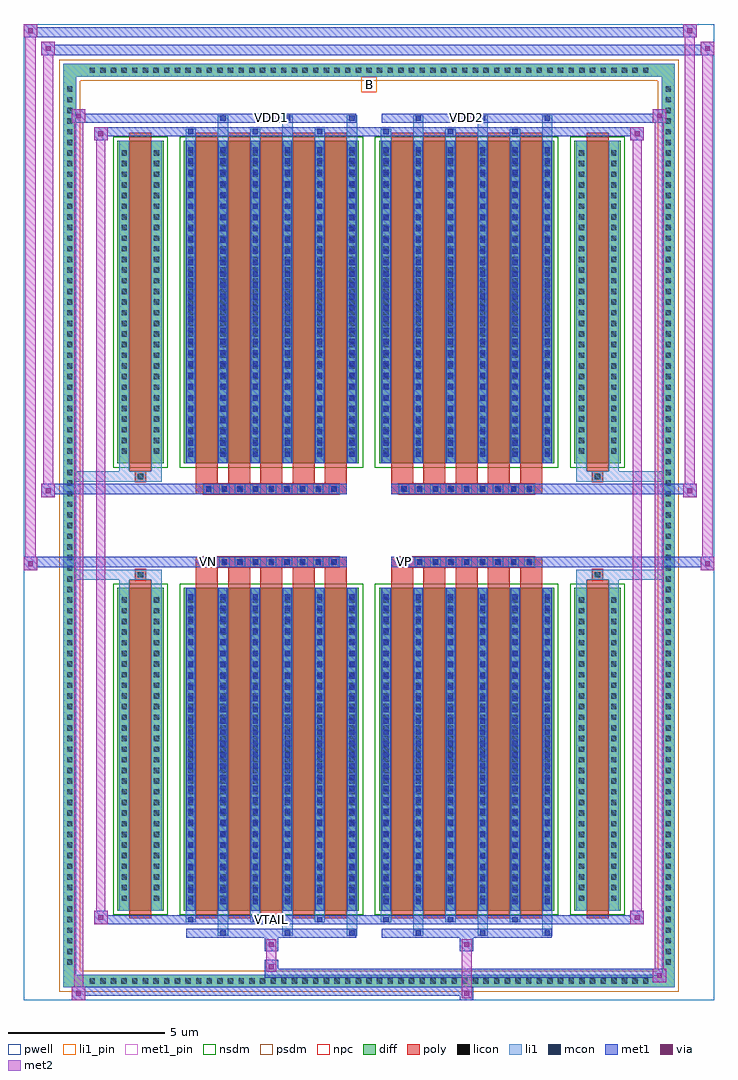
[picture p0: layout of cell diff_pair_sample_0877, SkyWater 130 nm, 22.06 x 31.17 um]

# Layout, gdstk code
import gdstk
lib = gdstk.Library(unit=1e-6, precision=5e-09)
def R(c, l, rs):  # rectangles x0, y0, x1, y1
    for r in rs: c.add(gdstk.rectangle(r[:2], r[2:], *l))
def A(c, l, x, y, w, h, nx, ny, dx, dy):  # array of equal rectangles
    R(c, l, [(x+i*dx, y+j*dy, x+i*dx+w, y+j*dy+h) for i in range(nx) for j in range(ny)])
def P(c, l, *ps):  # polygons
    for p in ps: c.add(gdstk.Polygon(p, *l))
pwell = (64, 44)
diff = (65, 20)
poly = (66, 20)
licon = (66, 44)
li1_pin = (67, 16)
li1 = (67, 20)
mcon = (67, 44)
met1_pin = (68, 16)
met1 = (68, 20)
via = (68, 44)
met2 = (69, 20)
nsdm = (93, 44)
psdm = (94, 20)
npc = (95, 20)

diff_pair_sample_0877 = lib.new_cell('diff_pair_sample_0877')
R(diff_pair_sample_0877, pwell, [(-11.03,-15.15,11.03,16.02), (-8.35,-13.34,-0.01,-0.8), (0.01,-13.34,8.35,-0.8), (-8.35,0.8,-0.01,13.34), (0.01,0.8,8.35,13.34)])
A(diff_pair_sample_0877, diff, -9.045, -14.75, 0.41, 0.41, 53, 2, 0.34, 29.09)
A(diff_pair_sample_0877, diff, -9.76, -14.145, 0.41, 0.41, 1, 83, 0, 0.34)
A(diff_pair_sample_0877, diff, 9.35, -14.145, 0.41, 0.41, 1, 83, 0, 0.34)
R(diff_pair_sample_0877, diff, [(-9.045,-14.75,9.045,-14.34), (-9.76,-14.145,-9.35,14.145), (9.35,-14.145,9.76,14.145), (-8.04,-12.295,-6.56,-1.985), (-5.92,-12.295,-0.32,-1.985), (0.32,-12.295,5.92,-1.985), (6.56,-12.295,8.04,-1.985), (-8.04,1.985,-6.56,12.295), (-5.92,1.985,-0.32,12.295), (0.32,1.985,5.92,12.295), (6.56,1.985,8.04,12.295), (-9.045,14.34,9.045,14.75)])
P(diff_pair_sample_0877, diff, [(9.76,14.75),(-9.76,14.75),(-9.76,-14.34),(-9.35,-14.34),(-9.35,14.34),(9.35,14.34),(9.35,-14.34),(-9.35,-14.34),(-9.76,-14.34),(-9.76,-14.75),(9.76,-14.75)])
A(diff_pair_sample_0877, poly, -5.53, -12.545, 0.7, 10.81, 5, 2, 1.03, 14.28)
A(diff_pair_sample_0877, poly, 0.71, -12.545, 0.7, 10.81, 5, 2, 1.03, 14.28)
A(diff_pair_sample_0877, poly, -5.53, -1.735, 0.7, 0.405, 5, 2, 1.03, 3.065)
A(diff_pair_sample_0877, poly, 0.71, -1.735, 0.7, 0.405, 5, 2, 1.03, 3.065)
A(diff_pair_sample_0877, poly, -5.285, -1.33, 0.33, 0.33, 9, 2, 0.5, 2.33)
A(diff_pair_sample_0877, poly, 0.955, -1.33, 0.33, 0.33, 9, 2, 0.5, 2.33)
R(diff_pair_sample_0877, poly, [(-7.65,-12.545,-6.95,-1.735), (6.95,-12.545,7.65,-1.735), (-7.465,-1.735,-7.135,-1.405), (-7.465,-1.735,-7.135,-1.405), (7.135,-1.735,7.465,-1.405), (7.135,-1.735,7.465,-1.405), (-5.53,-1.33,-0.71,-1), (0.71,-1.33,5.53,-1), (-5.53,1,-0.71,1.33), (0.71,1,5.53,1.33), (-7.465,1.405,-7.135,1.735), (-7.465,1.405,-7.135,1.735), (7.135,1.405,7.465,1.735), (7.135,1.405,7.465,1.735), (-7.65,1.735,-6.95,12.545), (6.95,1.735,7.65,12.545)])
A(diff_pair_sample_0877, licon, -8.925, -14.63, 0.17, 0.17, 53, 2, 0.34, 29.09)
A(diff_pair_sample_0877, licon, -9.64, -14.025, 0.17, 0.17, 1, 83, 0, 0.34)
A(diff_pair_sample_0877, licon, 9.47, -14.025, 0.17, 0.17, 1, 83, 0, 0.34)
A(diff_pair_sample_0877, licon, -7.9, -11.985, 0.17, 0.17, 1, 29, 0, 0.34)
A(diff_pair_sample_0877, licon, -6.87, -11.985, 0.17, 0.17, 1, 29, 0, 0.34)
A(diff_pair_sample_0877, licon, -5.78, -11.985, 0.17, 0.17, 6, 29, 1.03, 0.34)
A(diff_pair_sample_0877, licon, 0.46, -11.985, 0.17, 0.17, 6, 29, 1.03, 0.34)
A(diff_pair_sample_0877, licon, 6.7, -11.985, 0.17, 0.17, 1, 29, 0, 0.34)
A(diff_pair_sample_0877, licon, 7.73, -11.985, 0.17, 0.17, 1, 29, 0, 0.34)
A(diff_pair_sample_0877, licon, -5.205, -1.25, 0.17, 0.17, 9, 2, 0.5, 2.33)
A(diff_pair_sample_0877, licon, 1.035, -1.25, 0.17, 0.17, 9, 2, 0.5, 2.33)
A(diff_pair_sample_0877, licon, -7.9, 2.295, 0.17, 0.17, 1, 29, 0, 0.34)
A(diff_pair_sample_0877, licon, -6.87, 2.295, 0.17, 0.17, 1, 29, 0, 0.34)
A(diff_pair_sample_0877, licon, -5.78, 2.295, 0.17, 0.17, 6, 29, 1.03, 0.34)
A(diff_pair_sample_0877, licon, 0.46, 2.295, 0.17, 0.17, 6, 29, 1.03, 0.34)
A(diff_pair_sample_0877, licon, 6.7, 2.295, 0.17, 0.17, 1, 29, 0, 0.34)
A(diff_pair_sample_0877, licon, 7.73, 2.295, 0.17, 0.17, 1, 29, 0, 0.34)
R(diff_pair_sample_0877, licon, [(-7.385,-1.655,-7.215,-1.485), (7.215,-1.655,7.385,-1.485), (-7.385,1.485,-7.215,1.655), (7.215,1.485,7.385,1.655)])
R(diff_pair_sample_0877, li1_pin, [(-0.25,13.84,0.25,14.34)])
A(diff_pair_sample_0877, li1, -9.005, -14.71, 0.33, 0.33, 53, 2, 0.34, 29.09)
A(diff_pair_sample_0877, li1, -9.72, -14.105, 0.33, 0.33, 1, 83, 0, 0.34)
A(diff_pair_sample_0877, li1, 9.39, -14.105, 0.33, 0.33, 1, 83, 0, 0.34)
A(diff_pair_sample_0877, li1, -4.83, -13.1, 0.33, 0.805, 3, 2, 2.06, 25.395)
A(diff_pair_sample_0877, li1, -4.75, -13.1, 0.17, 0.17, 3, 2, 2.06, 26.03)
A(diff_pair_sample_0877, li1, 1.41, -13.1, 0.33, 0.805, 3, 2, 2.06, 25.395)
A(diff_pair_sample_0877, li1, 1.49, -13.1, 0.17, 0.17, 3, 2, 2.06, 26.03)
A(diff_pair_sample_0877, li1, -5.86, -12.67, 0.33, 0.375, 3, 2, 2.06, 24.965)
A(diff_pair_sample_0877, li1, -5.78, -12.67, 0.17, 0.17, 3, 2, 2.06, 25.17)
A(diff_pair_sample_0877, li1, 0.38, -12.67, 0.33, 0.375, 3, 2, 2.06, 24.965)
A(diff_pair_sample_0877, li1, 0.46, -12.67, 0.17, 0.17, 3, 2, 2.06, 25.17)
A(diff_pair_sample_0877, li1, -5.86, -12.295, 0.33, 10.31, 6, 2, 1.03, 14.28)
A(diff_pair_sample_0877, li1, 0.38, -12.295, 0.33, 10.31, 6, 2, 1.03, 14.28)
A(diff_pair_sample_0877, li1, -5.78, -12.085, 0.17, 0.17, 6, 28, 1.03, 0.36)
A(diff_pair_sample_0877, li1, -5.78, -12.085, 0.17, 9.89, 6, 2, 1.03, 14.28)
A(diff_pair_sample_0877, li1, 0.46, -12.085, 0.17, 0.17, 6, 28, 1.03, 0.36)
A(diff_pair_sample_0877, li1, 0.46, -12.085, 0.17, 9.89, 6, 2, 1.03, 14.28)
A(diff_pair_sample_0877, li1, -7.98, -12.065, 0.33, 0.33, 1, 29, 0, 0.34)
A(diff_pair_sample_0877, li1, -6.95, -12.065, 0.33, 0.33, 1, 29, 0, 0.34)
A(diff_pair_sample_0877, li1, -5.86, -12.065, 0.33, 0.33, 6, 29, 1.03, 0.34)
A(diff_pair_sample_0877, li1, 0.38, -12.065, 0.33, 0.33, 6, 29, 1.03, 0.34)
A(diff_pair_sample_0877, li1, 6.62, -12.065, 0.33, 0.33, 1, 29, 0, 0.34)
A(diff_pair_sample_0877, li1, 7.65, -12.065, 0.33, 0.33, 1, 29, 0, 0.34)
A(diff_pair_sample_0877, li1, -5.285, -1.33, 0.33, 0.33, 9, 2, 0.5, 2.33)
A(diff_pair_sample_0877, li1, 0.955, -1.33, 0.33, 0.33, 9, 2, 0.5, 2.33)
A(diff_pair_sample_0877, li1, -5.78, 2.195, 0.17, 0.17, 6, 28, 1.03, 0.36)
A(diff_pair_sample_0877, li1, 0.46, 2.195, 0.17, 0.17, 6, 28, 1.03, 0.36)
A(diff_pair_sample_0877, li1, -7.98, 2.215, 0.33, 0.33, 1, 29, 0, 0.34)
A(diff_pair_sample_0877, li1, -6.95, 2.215, 0.33, 0.33, 1, 29, 0, 0.34)
A(diff_pair_sample_0877, li1, -5.86, 2.215, 0.33, 0.33, 6, 29, 1.03, 0.34)
A(diff_pair_sample_0877, li1, 0.38, 2.215, 0.33, 0.33, 6, 29, 1.03, 0.34)
A(diff_pair_sample_0877, li1, 6.62, 2.215, 0.33, 0.33, 1, 29, 0, 0.34)
A(diff_pair_sample_0877, li1, 7.65, 2.215, 0.33, 0.33, 1, 29, 0, 0.34)
R(diff_pair_sample_0877, li1, [(-9.76,-14.75,-9.35,-14.34), (-9.76,-14.75,-9.35,-14.34), (-9.35,-14.75,9.35,-14.34), (9.35,-14.75,9.76,-14.34), (9.35,-14.75,9.76,-14.34), (-9.76,-14.34,-9.35,14.34), (9.35,-14.34,9.76,14.34), (-7.98,-12.295,-7.65,-1.985), (-6.95,-12.295,-6.62,-1.985), (6.62,-12.295,6.95,-1.985), (7.65,-12.295,7.98,-1.985), (-7.98,-1.985,-7.65,-1.405), (-6.95,-1.985,-6.62,-1.405), (6.62,-1.985,6.95,-1.405), (7.65,-1.985,7.98,-1.405), (-9.76,-1.735,-7.465,-1.405), (-7.98,-1.735,-7.465,-1.405), (-7.465,-1.735,-7.135,-1.405), (-7.135,-1.735,-6.62,-1.405), (6.62,-1.735,7.135,-1.405), (7.135,-1.735,7.465,-1.405), (7.135,-1.735,9.76,-1.405), (7.465,-1.735,7.98,-1.405), (-9.76,1.405,-7.465,1.735), (-7.98,1.405,-7.465,1.735), (-7.98,1.405,-7.65,1.985), (-7.465,1.405,-7.135,1.735), (-7.135,1.405,-6.62,1.735), (-6.95,1.405,-6.62,1.985), (6.62,1.405,7.135,1.735), (6.62,1.405,6.95,1.985), (7.135,1.405,7.465,1.735), (7.135,1.405,9.76,1.735), (7.465,1.405,7.98,1.735), (7.65,1.405,7.98,1.985), (-7.98,1.985,-7.65,12.295), (-6.95,1.985,-6.62,12.295), (6.62,1.985,6.95,12.295), (7.65,1.985,7.98,12.295), (-9.76,14.34,-9.35,14.75), (-9.76,14.34,-9.35,14.75), (-9.35,14.34,9.35,14.75), (9.35,14.34,9.76,14.75), (9.35,14.34,9.76,14.75)])
A(diff_pair_sample_0877, mcon, -4.75, -13.1, 0.17, 0.17, 3, 2, 2.06, 26.03)
A(diff_pair_sample_0877, mcon, 1.49, -13.1, 0.17, 0.17, 3, 2, 2.06, 26.03)
A(diff_pair_sample_0877, mcon, -5.78, -12.67, 0.17, 0.17, 3, 2, 2.06, 25.17)
A(diff_pair_sample_0877, mcon, 0.46, -12.67, 0.17, 0.17, 3, 2, 2.06, 25.17)
A(diff_pair_sample_0877, mcon, -5.78, -12.085, 0.17, 0.17, 6, 28, 1.03, 0.36)
A(diff_pair_sample_0877, mcon, 0.46, -12.085, 0.17, 0.17, 6, 28, 1.03, 0.36)
A(diff_pair_sample_0877, mcon, -5.205, -1.25, 0.17, 0.17, 9, 2, 0.5, 2.33)
A(diff_pair_sample_0877, mcon, 1.035, -1.25, 0.17, 0.17, 9, 2, 0.5, 2.33)
A(diff_pair_sample_0877, mcon, -5.78, 2.195, 0.17, 0.17, 6, 28, 1.03, 0.36)
A(diff_pair_sample_0877, mcon, 0.46, 2.195, 0.17, 0.17, 6, 28, 1.03, 0.36)
R(diff_pair_sample_0877, met1_pin, [(-3.255,-12.71,-2.985,-12.44), (-5.255,-1.29,-4.985,-1.02), (0.985,-1.29,1.255,-1.02), (-3.255,12.89,-2.985,13.16), (2.985,12.89,3.255,13.16)])
A(diff_pair_sample_0877, met1, -4.81, -13.16, 0.29, 0.29, 3, 2, 2.06, 26.03)
A(diff_pair_sample_0877, met1, 1.43, -13.16, 0.29, 0.29, 3, 2, 2.06, 26.03)
A(diff_pair_sample_0877, met1, -5.84, -12.73, 0.29, 0.29, 3, 2, 2.06, 25.17)
A(diff_pair_sample_0877, met1, 0.4, -12.73, 0.29, 0.29, 3, 2, 2.06, 25.17)
A(diff_pair_sample_0877, met1, -5.84, -12.295, 0.29, 10.31, 6, 2, 1.03, 14.28)
A(diff_pair_sample_0877, met1, 0.4, -12.295, 0.29, 10.31, 6, 2, 1.03, 14.28)
A(diff_pair_sample_0877, met1, -5.84, -12.145, 0.29, 0.29, 6, 28, 1.03, 0.36)
A(diff_pair_sample_0877, met1, 0.4, -12.145, 0.29, 0.29, 6, 28, 1.03, 0.36)
A(diff_pair_sample_0877, met1, -5.265, -1.31, 0.29, 0.29, 9, 2, 0.5, 2.33)
A(diff_pair_sample_0877, met1, 0.975, -1.31, 0.29, 0.29, 9, 2, 0.5, 2.33)
A(diff_pair_sample_0877, met1, -5.84, 2.135, 0.29, 0.29, 6, 28, 1.03, 0.36)
A(diff_pair_sample_0877, met1, 0.4, 2.135, 0.29, 0.29, 6, 28, 1.03, 0.36)
R(diff_pair_sample_0877, met1, [(-9.49,-15.15,-9.06,-14.72), (2.905,-15.15,3.335,-14.72), (-9.49,-15.01,3.335,-14.72), (9.06,-14.58,9.49,-14.15), (-3.335,-14.44,9.49,-14.15), (-3.335,-14.3,-2.905,-13.87), (-3.335,-13.59,-2.905,-13.16), (2.905,-13.59,3.335,-13.16), (-5.84,-13.16,-0.4,-12.87), (0.4,-13.16,5.84,-12.87), (-8.78,-12.73,-8.35,-12.3), (-8.78,-12.73,-5.84,-12.44), (-5.84,-12.73,-0.4,-12.44), (-0.4,-12.73,0.4,-12.44), (0.4,-12.73,5.84,-12.44), (5.84,-12.73,8.78,-12.44), (8.35,-12.73,8.78,-12.3), (-11.03,-1.43,-10.6,-1), (10.6,-1.43,11.03,-1), (-11.03,-1.33,-0.71,-1), (-5.53,-1.33,-0.71,-1), (0.71,-1.33,5.53,-1), (0.71,-1.33,11.03,-1), (-10.46,0.9,-10.03,1.33), (10.03,0.9,10.46,1.33), (-10.46,1,-5.53,1.33), (-5.53,1,-0.71,1.33), (0.71,1,5.53,1.33), (5.53,1,10.46,1.33), (-8.78,12.3,-8.35,12.73), (8.35,12.3,8.78,12.73), (-8.78,12.44,-5.84,12.73), (-5.84,12.44,-0.4,12.73), (-0.4,12.44,0.4,12.73), (0.4,12.44,5.84,12.73), (5.84,12.44,8.78,12.73), (-9.49,12.87,-9.06,13.3), (-9.49,12.87,-5.84,13.16), (-5.84,12.87,-0.4,13.16), (0.4,12.87,5.84,13.16), (5.84,12.87,9.49,13.16), (9.06,12.87,9.49,13.3), (-10.46,15.02,-10.03,15.45), (-10.46,15.02,-8.35,15.35), (-8.35,15.02,8.35,15.35), (8.35,15.02,11.03,15.35), (10.6,15.02,11.03,15.45), (-11.03,15.59,-10.6,16.02), (-11.03,15.59,-8.35,15.92), (-8.35,15.59,8.35,15.92), (8.35,15.59,10.46,15.92), (10.03,15.59,10.46,16.02)])
R(diff_pair_sample_0877, via, [(-9.35,-15.01,-9.2,-14.86), (3.045,-15.01,3.195,-14.86), (9.2,-14.44,9.35,-14.29), (-3.195,-14.16,-3.045,-14.01), (-3.195,-13.45,-3.045,-13.3), (3.045,-13.45,3.195,-13.3), (-8.64,-12.59,-8.49,-12.44), (8.49,-12.59,8.64,-12.44), (-10.89,-1.29,-10.74,-1.14), (10.74,-1.29,10.89,-1.14), (-10.32,1.04,-10.17,1.19), (10.17,1.04,10.32,1.19), (-8.64,12.44,-8.49,12.59), (8.49,12.44,8.64,12.59), (-9.35,13.01,-9.2,13.16), (9.2,13.01,9.35,13.16), (-10.32,15.16,-10.17,15.31), (10.74,15.16,10.89,15.31), (-10.89,15.73,-10.74,15.88), (10.17,15.73,10.32,15.88)])
R(diff_pair_sample_0877, met2, [(-9.49,-15.15,-9.06,-14.72), (-9.42,-15.15,-9.13,13.3), (-9.13,-15.15,-9.06,-14.72), (-9.44,-15.1,-9.11,-14.77), (2.955,-15.1,3.285,-14.77), (2.955,-14.77,3.285,-13.54), (9.06,-14.58,9.49,-14.15), (9.13,-14.58,9.42,13.3), (9.42,-14.58,9.49,-14.15), (9.11,-14.53,9.44,-14.2), (-3.285,-14.25,-2.955,-13.92), (-3.285,-13.92,-2.955,-13.54), (-3.285,-13.54,-2.955,-13.21), (2.955,-13.54,3.285,-13.21), (-8.78,-12.73,-8.35,-12.3), (-8.71,-12.73,-8.42,12.73), (-8.42,-12.73,-8.35,-12.3), (8.35,-12.73,8.78,-12.3), (8.42,-12.73,8.71,12.73), (8.71,-12.73,8.78,-12.3), (-8.73,-12.68,-8.4,-12.35), (8.4,-12.68,8.73,-12.35), (-11.03,-1.43,-10.6,-1), (-10.98,-1.43,-10.65,16.02), (-10.65,-1.43,-10.6,-1), (10.6,-1.43,11.03,-1), (10.65,-1.43,10.98,15.45), (10.98,-1.43,11.03,-1), (-10.98,-1.38,-10.65,-1.05), (10.65,-1.38,10.98,-1.05), (-10.46,0.9,-10.03,1.33), (-10.41,0.9,-10.08,15.45), (-10.08,0.9,-10.03,1.33), (10.03,0.9,10.46,1.33), (10.08,0.9,10.41,16.02), (10.41,0.9,10.46,1.33), (-10.41,0.95,-10.08,1.28), (10.08,0.95,10.41,1.28), (-8.78,12.3,-8.35,12.73), (-8.42,12.3,-8.35,12.73), (8.35,12.3,8.78,12.73), (8.71,12.3,8.78,12.73), (-8.73,12.35,-8.4,12.68), (8.4,12.35,8.73,12.68), (-9.49,12.87,-9.06,13.3), (-9.13,12.87,-9.06,13.3), (9.06,12.87,9.49,13.3), (9.42,12.87,9.49,13.3), (-9.44,12.92,-9.11,13.25), (9.11,12.92,9.44,13.25), (-10.46,15.02,-10.03,15.45), (-10.08,15.02,-10.03,15.45), (10.6,15.02,11.03,15.45), (10.98,15.02,11.03,15.45), (-10.41,15.07,-10.08,15.4), (10.65,15.07,10.98,15.4), (-11.03,15.59,-10.6,16.02), (-10.65,15.59,-10.6,16.02), (10.03,15.59,10.46,16.02), (10.41,15.59,10.46,16.02), (-10.98,15.64,-10.65,15.97), (10.08,15.64,10.41,15.97)])
R(diff_pair_sample_0877, nsdm, [(-8.17,-12.425,-6.43,-1.855), (-6.05,-12.425,-0.19,-1.855), (0.19,-12.425,6.05,-1.855), (6.43,-12.425,8.17,-1.855), (-8.17,1.855,-6.43,12.425), (-6.05,1.855,-0.19,12.425), (0.19,1.855,6.05,12.425), (6.43,1.855,8.17,12.425)])
P(diff_pair_sample_0877, psdm, [(9.89,14.88),(-9.89,14.88),(-9.89,-14.21),(-9.22,-14.21),(-9.22,14.21),(9.22,14.21),(9.22,-14.21),(-9.22,-14.21),(-9.89,-14.21),(-9.89,-14.88),(9.89,-14.88)])
A(diff_pair_sample_0877, npc, -5.305, -1.35, 0.37, 0.37, 9, 2, 0.5, 2.33)
A(diff_pair_sample_0877, npc, 0.935, -1.35, 0.37, 0.37, 9, 2, 0.5, 2.33)
R(diff_pair_sample_0877, npc, [(-7.485,-1.755,-7.115,-1.385), (7.115,-1.755,7.485,-1.385), (-5.305,-1.35,-4.435,-0.98), (-5.305,-1.35,-4.435,-0.98), (-4.805,-1.35,-3.935,-0.98), (-4.805,-1.35,-3.935,-0.98), (-4.305,-1.35,-3.435,-0.98), (-4.305,-1.35,-3.435,-0.98), (-3.805,-1.35,-2.935,-0.98), (-3.805,-1.35,-2.935,-0.98), (-3.305,-1.35,-2.435,-0.98), (-3.305,-1.35,-2.435,-0.98), (-2.805,-1.35,-1.935,-0.98), (-2.805,-1.35,-1.935,-0.98), (-2.305,-1.35,-1.435,-0.98), (-2.305,-1.35,-1.435,-0.98), (-1.805,-1.35,-0.935,-0.98), (-1.805,-1.35,-0.935,-0.98), (0.935,-1.35,1.805,-0.98), (0.935,-1.35,1.805,-0.98), (1.435,-1.35,2.305,-0.98), (1.435,-1.35,2.305,-0.98), (1.935,-1.35,2.805,-0.98), (1.935,-1.35,2.805,-0.98), (2.435,-1.35,3.305,-0.98), (2.435,-1.35,3.305,-0.98), (2.935,-1.35,3.805,-0.98), (2.935,-1.35,3.805,-0.98), (3.435,-1.35,4.305,-0.98), (3.435,-1.35,4.305,-0.98), (3.935,-1.35,4.805,-0.98), (3.935,-1.35,4.805,-0.98), (4.435,-1.35,5.305,-0.98), (4.435,-1.35,5.305,-0.98), (-5.305,0.98,-4.435,1.35), (-5.305,0.98,-4.435,1.35), (-4.805,0.98,-3.935,1.35), (-4.805,0.98,-3.935,1.35), (-4.305,0.98,-3.435,1.35), (-4.305,0.98,-3.435,1.35), (-3.805,0.98,-2.935,1.35), (-3.805,0.98,-2.935,1.35), (-3.305,0.98,-2.435,1.35), (-3.305,0.98,-2.435,1.35), (-2.805,0.98,-1.935,1.35), (-2.805,0.98,-1.935,1.35), (-2.305,0.98,-1.435,1.35), (-2.305,0.98,-1.435,1.35), (-1.805,0.98,-0.935,1.35), (-1.805,0.98,-0.935,1.35), (0.935,0.98,1.805,1.35), (0.935,0.98,1.805,1.35), (1.435,0.98,2.305,1.35), (1.435,0.98,2.305,1.35), (1.935,0.98,2.805,1.35), (1.935,0.98,2.805,1.35), (2.435,0.98,3.305,1.35), (2.435,0.98,3.305,1.35), (2.935,0.98,3.805,1.35), (2.935,0.98,3.805,1.35), (3.435,0.98,4.305,1.35), (3.435,0.98,4.305,1.35), (3.935,0.98,4.805,1.35), (3.935,0.98,4.805,1.35), (4.435,0.98,5.305,1.35), (4.435,0.98,5.305,1.35), (-7.485,1.385,-7.115,1.755), (7.115,1.385,7.485,1.755)])
diff_pair_sample_0877.add(gdstk.Label('VTAIL', (-3.12,-12.575), layer=68, texttype=5))
diff_pair_sample_0877.add(gdstk.Label('VN', (-5.12,-1.155), layer=68, texttype=5))
diff_pair_sample_0877.add(gdstk.Label('VP', (1.12,-1.155), layer=68, texttype=5))
diff_pair_sample_0877.add(gdstk.Label('B', (0,14.09), layer=67, texttype=5))
diff_pair_sample_0877.add(gdstk.Label('VDD2', (3.12,13.025), layer=68, texttype=5))
diff_pair_sample_0877.add(gdstk.Label('VDD1', (-3.12,13.025), layer=68, texttype=5))

lib.write_gds('diff_pair_sample_0877.gds')
